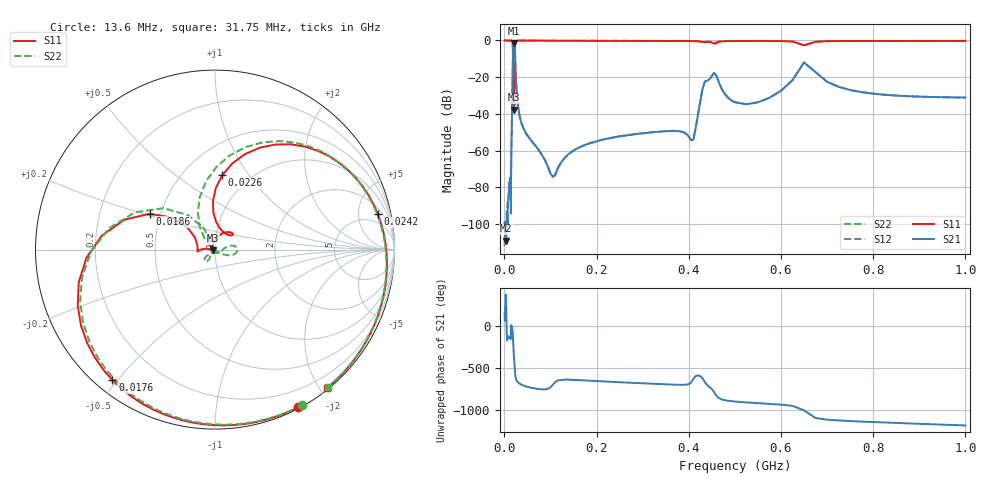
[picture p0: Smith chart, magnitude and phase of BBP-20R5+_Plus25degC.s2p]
! Mini-Circuits
! S2P DATA File Format
! Type: BAND PASS FILTER
! Model: BBP-20R5+
! All S Parameters are in dB deg format
! TEST CONDITIONS: INPUT POWER = 0 dBm @ Temperature = +25deg C
# MHz S dB R 50
!Frequency  S11 dB  S11 DEG  S21 dB  S21 DEG  S12 dB  S12 DEG  S22 dB  S22 DEG
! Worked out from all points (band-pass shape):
!   421 points, 500 kHz to 1 GHz, reference 50 ohm
!   highest |S21| = -1.39 dB at 20.8 MHz (marker M1); lowest = -108.9 dB at 4 MHz (marker M2)
!   |S21| within 3 dB of the highest: 18.59 MHz to 22.83 MHz (4.241 MHz wide, 20.5 % of centre)
!   lowest |S11| = -37.7 dB at 20.4 MHz (marker M3), VSWR 1.03, Z = 48.8 - j0.284 ohm
!   |S11| at or under -10 dB: 18.68 MHz to 22.47 MHz (3.784 MHz wide, 18.4 % of centre)
!   |S22| runs from -35.2 to 0.0 dB; largest |S21 - S12| = 0.0006
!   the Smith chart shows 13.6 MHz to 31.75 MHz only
!   S11 on the Smith chart (normalised r, x): 13.6 MHz: 0.01, -1.66; 17.6 MHz: 0.05, -0.48; 18.6 MHz: 0.44, +0.21; 22.6 MHz: 0.76, +0.76; 24.2 MHz: 2.92, +8.32; 31.75 MHz: 0.02, -2.09
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0.5  0.00 -1.9  -99.77 151.3  -111.97 -122.0  -0.00 -1.8
2  0.00 -7.5  -107.08 -132.8  -107.05 119.5  -0.00 -7.4
4  0.00 -15.2  -108.93 -100.7  -102.33 -119.8  -0.00 -14.9
6.5  -0.00 -25.1  -98.77 -141.6  -92.15 -95.4  -0.00 -24.6
13.6  -0.05 -62.1  -78.59 -147.0  -77.76 -148.3  -0.06 -60.9
17.6  -0.68 -128.2  -22.25 -51.0  -22.27 -51.0  -0.77 -127.4
18.6  -7.64 151.2  -4.30 -151.9  -4.30 -151.9  -8.67 141.2
19.5  -22.40 179.2  -1.71 93.1  -1.71 93.1  -22.89 -140.7
20.4  -37.74 -167.0  -1.41 14.6  -1.41 14.6  -29.26 -21.0
20.8  -25.84 91.3  -1.39 -16.4  -1.39 -16.4  -23.90 12.7
22.4  -11.34 92.4  -2.22 -142.6  -2.22 -142.6  -12.87 114.8
22.6  -7.62 84.5  -2.99 -160.9  -3.00 -160.9  -8.32 97.5
24.2  -0.65 12.2  -15.30 109.9  -15.30 109.9  -0.70 13.5
31.75  -0.07 -51.1  -39.32 41.2  -39.34 41.1  -0.07 -50.5
80  -0.10 -131.3  -61.76 -30.2  -61.70 -30.2  -0.07 -129.3
110  -0.14 -154.2  -73.56 53.1  -72.97 53.4  -0.10 -151.6
285  -0.25 138.7  -50.96 43.7  -50.95 43.8  -0.20 144.0
405  -0.32 106.6  -54.32 48.1  -54.21 48.3  -0.30 113.8
450  -1.12 94.2  -19.30 -27.2  -19.29 -27.3  -0.94 103.9
500  -0.30 88.0  -33.62 -175.1  -33.62 -175.1  -0.28 96.5
675  -0.71 57.4  -17.26 -10.4  -17.26 -10.4  -0.71 68.8
1000  -0.26 -14.1  -31.05 -98.0  -31.05 -98.0  -0.27 2.6
